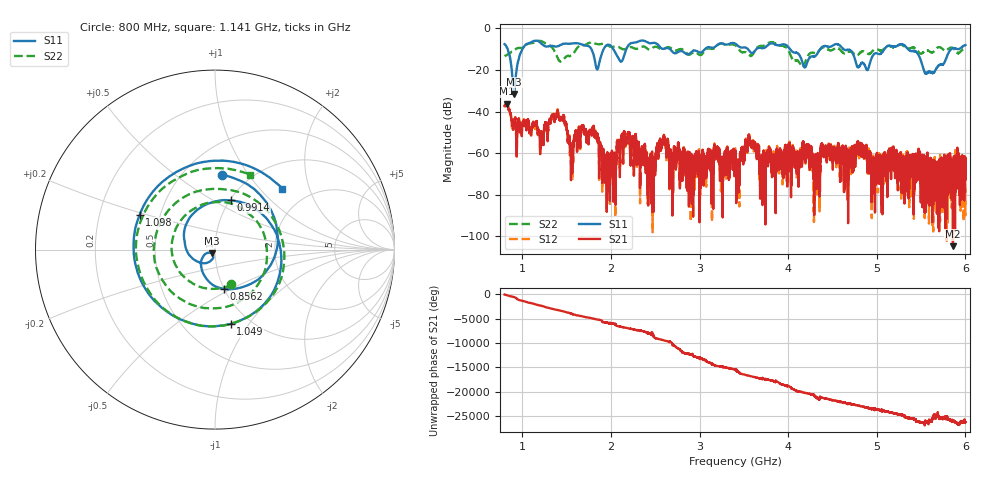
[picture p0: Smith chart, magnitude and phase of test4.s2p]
!Keysight Technologies N9923A: A.08.15
!Date: Friday, 16 February 2024 23:03:39
!Timezone: (GMT-05:00) Eastern Time (US & Canada)
!Model: N9923A
!Serial: MY52412730
!GPS Latitude:
!GPS Longitude:
!GPS TimeStamp: 0001-01-01 00:00:00Z
!GPS Seconds Since Last Read: 0
!CHECKSUM:1986594739
!Correction: S11(ON Q)S21(ON Q)S12(ON Q)S22(ON Q)
!S2P File: Measurements:S11,S21,S12,S22:
# Hz S DB R 50
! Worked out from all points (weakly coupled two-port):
!   10001 points, 800 MHz to 6 GHz, reference 50 ohm
!   highest |S21| = -36.13 dB at 822.4 MHz (marker M1); lowest = -104.8 dB at 5.86 GHz (marker M2)
!   lowest |S11| = -31.6 dB at 907.1 MHz (marker M3), VSWR 1.05, Z = 48.4 - j2 ohm
!   |S11| at or under -10 dB: 2.667 GHz to 3.06 GHz (393.2 MHz wide, 13.7 % of centre); 4.625 GHz to 5.085 GHz (459.6 MHz wide, 9.47 % of centre); 5.353 GHz to 5.838 GHz (485 MHz wide, 8.67 % of centre) (the widest 3 of 8)
!   |S22| runs from -18.7 to -6.0 dB; largest |S21 - S12| = 0.0013
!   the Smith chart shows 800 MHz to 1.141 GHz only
!   S11 on the Smith chart (normalised r, x): 800 MHz: 0.75, +0.76; 856.2 MHz: 1.00, -0.46; 991.4 MHz: 1.01, +0.60; 1.049 GHz: 0.82, -0.82; 1.098 GHz: 0.38, +0.19; 1.141 GHz: 1.47, +1.34
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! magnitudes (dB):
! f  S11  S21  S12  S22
! 800 MHz  -7.6  -37.4  -37.6  -13.4
! 822.4 MHz  -8.8  -36.1  -36.3  -12.9
! 856.2 MHz  -13.0  -39.8  -39.9  -11.9
! 907.1 MHz  -31.6  -46.2  -47.0  -10.6
! 991.4 MHz  -10.8  -49.6  -47.6  -9.4
! 1.049 GHz  -7.5  -47.1  -46.7  -7.7
! 1.098 GHz  -6.7  -51.1  -51.8  -7.1
! 1.141 GHz  -5.9  -46.2  -47.1  -6.7
! 1.411 GHz  -8.5  -42.6  -42.7  -15.3
! 1.558 GHz  -7.3  -61.2  -61.2  -12.8
! 1.667 GHz  -7.7  -47.6  -47.2  -8.1
! 2.003 GHz  -8.5  -70.5  -66.0  -8.9
! 2.172 GHz  -10.1  -53.8  -54.0  -9.7
! 2.435 GHz  -7.1  -63.8  -63.9  -10.2
! 2.534 GHz  -7.9  -60.3  -58.6  -9.3
! 3.4 GHz  -7.3  -59.1  -62.1  -8.0
! 3.571 GHz  -11.3  -55.4  -55.5  -13.1
! 4.267 GHz  -13.4  -63.0  -62.8  -11.7
! 5.134 GHz  -8.3  -63.3  -65.0  -8.3
! 5.563 GHz  -21.4  -70.1  -74.2  -10.5
! 5.86 GHz  -9.5  -104.8  -64.9  -9.5
! 6 GHz  -8.0  -62.6  -66.4  -10.2
